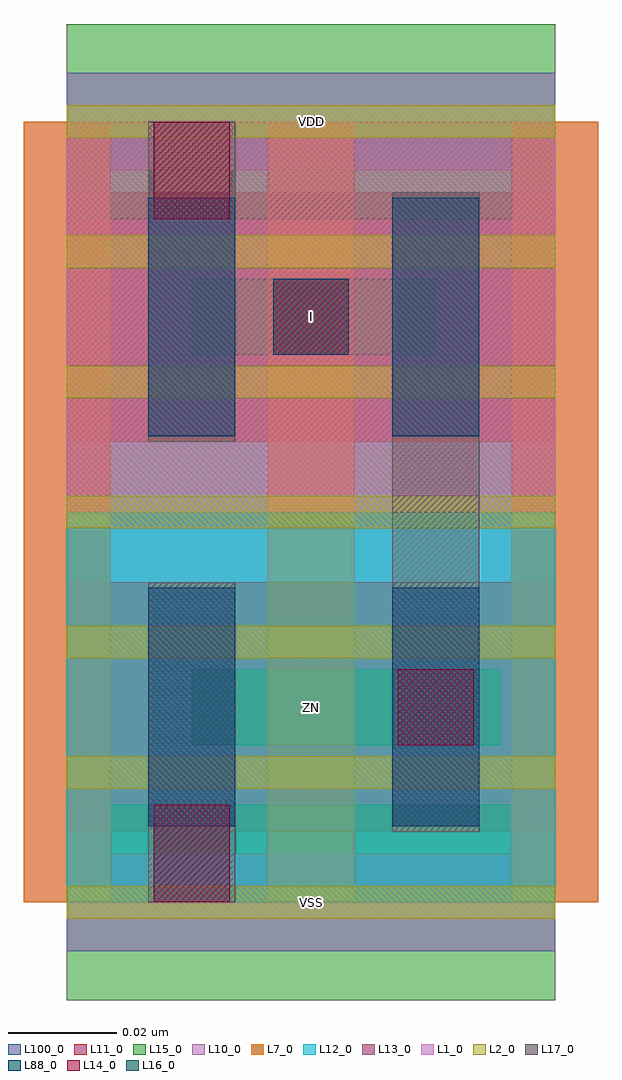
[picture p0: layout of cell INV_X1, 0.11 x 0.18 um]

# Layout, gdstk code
import gdstk
lib = gdstk.Library(unit=1e-6, precision=1e-09)
def R(c, l, rs):  # rectangles x0, y0, x1, y1
    for r in rs: c.add(gdstk.rectangle(r[:2], r[2:], *l))
def A(c, l, x, y, w, h, nx, ny, dx, dy):  # array of equal rectangles
    R(c, l, [(x+i*dx, y+j*dy, x+i*dx+w, y+j*dy+h) for i in range(nx) for j in range(ny)])
def P(c, l, *ps):  # polygons
    for p in ps: c.add(gdstk.Polygon(p, *l))
L1_0 = (1, 0)
L2_0 = (2, 0)
L7_0 = (7, 0)
L10_0 = (10, 0)
L11_0 = (11, 0)
L12_0 = (12, 0)
L13_0 = (13, 0)
L14_0 = (14, 0)
L15_0 = (15, 0)
L16_0 = (16, 0)
L17_0 = (17, 0)
L88_0 = (88, 0)
L100_0 = (100, 0)

inv_x1 = lib.new_cell('INV_X1')
R(inv_x1, L1_0, [(0,0.072,0.09,0.144)])
A(inv_x1, L2_0, 0, -0.003, 0.09, 0.006, 1, 7, 0, 0.024)
A(inv_x1, L7_0, -0.008, 0, 0.016, 0.144, 3, 1, 0.045, 0)
P(inv_x1, L10_0, [(0,-0.009),(0,0),(-0.008,0),(-0.008,0.135),(0.008,0.135),(0.008,0.009),(0.082,0.009),(0.082,0.135),(-0.008,0.135),(-0.008,0.144),(0,0.144),(0,0.153),(0.09,0.153),(0.09,0.144),(0.098,0.144),(0.098,0),(0.09,0),(0.09,-0.009)])
R(inv_x1, L11_0, [(0,0.013,0.09,0.059), (0,0.085,0.09,0.131)])
R(inv_x1, L12_0, [(0,0,0.09,0.072)])
R(inv_x1, L13_0, [(0,0.072,0.09,0.144)])
R(inv_x1, L14_0, [(0.016,0,0.03,0.018), (0.061,0.029,0.075,0.043), (0.038,0.101,0.052,0.115), (0.016,0.126,0.03,0.144)])
R(inv_x1, L15_0, [(0,-0.018,0.09,0.018), (0.023,0.029,0.08,0.043), (0.023,0.101,0.068,0.115), (0,0.126,0.09,0.162)])
R(inv_x1, L16_0, [(0.038,0.101,0.052,0.115)])
R(inv_x1, L17_0, [(0.015,0,0.031,0.059), (0.06,0.013,0.076,0.131), (0.015,0.085,0.031,0.144)])
R(inv_x1, L88_0, [(0.015,0.014,0.031,0.058), (0.06,0.014,0.076,0.058), (0.015,0.086,0.031,0.13), (0.06,0.086,0.076,0.13)])
R(inv_x1, L100_0, [(0,0,0.09,0.144)])
inv_x1.add(gdstk.Label('I', (0.045,0.108), layer=15, texttype=251))
inv_x1.add(gdstk.Label('VSS', (0.045,0), layer=15, texttype=251))
inv_x1.add(gdstk.Label('VDD', (0.045,0.144), layer=15, texttype=251))
inv_x1.add(gdstk.Label('ZN', (0.045,0.036), layer=15, texttype=251))
inv_x1.add(gdstk.Label('VSS', (0.045,0), layer=15, texttype=251))
inv_x1.add(gdstk.Label('VDD', (0.045,0.144), layer=15, texttype=251))
inv_x1.add(gdstk.Label('VSS', (0.045,0), layer=3, texttype=251))
inv_x1.add(gdstk.Label('VSS', (0.045,0), layer=3, texttype=251))
inv_x1.add(gdstk.Label('VDD', (0.045,0.144), layer=1, texttype=251))
inv_x1.add(gdstk.Label('VDD', (0.045,0.144), layer=1, texttype=251))

lib.write_gds('INV_X1.gds')
